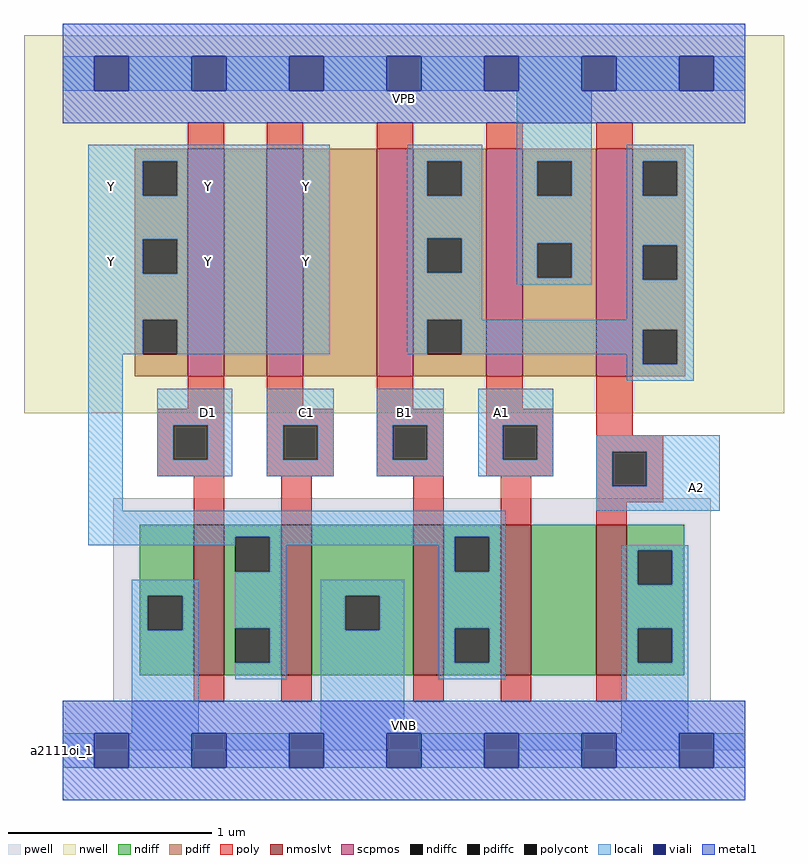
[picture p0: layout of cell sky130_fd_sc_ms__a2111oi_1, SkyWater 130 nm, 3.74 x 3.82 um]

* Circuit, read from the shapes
.subckt sky130_fd_sc_ms__a2111oi_1 A1 A2 B1 C1 D1 VGND VNB VPB VPWR Y
XM1 Y D1 VGND VNB sky130_fd_pr__nfet_01v8_lvt w=0.74 l=0.15
XM2 VGND C1 Y VNB sky130_fd_pr__nfet_01v8_lvt w=0.74 l=0.15
XM3 Y B1 VGND VNB sky130_fd_pr__nfet_01v8_lvt w=0.74 l=0.15
XM4 n1 A1 Y VNB sky130_fd_pr__nfet_01v8_lvt w=0.74 l=0.15
XM5 VGND A2 n1 VNB sky130_fd_pr__nfet_01v8_lvt w=0.74 l=0.15
XM6 n2 D1 Y VPB sky130_fd_pr__pfet_01v8 w=1.12 l=0.18
XM7 n3 C1 n2 VPB sky130_fd_pr__pfet_01v8 w=1.12 l=0.18
XM8 n4 B1 n3 VPB sky130_fd_pr__pfet_01v8 w=1.12 l=0.18
XM9 VPWR A1 n4 VPB sky130_fd_pr__pfet_01v8 w=1.12 l=0.18
XM10 n4 A2 VPWR VPB sky130_fd_pr__pfet_01v8 w=1.12 l=0.18
.ends

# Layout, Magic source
magic
tech sky130A
magscale 1 2
<< nwell >>
rect -38 332 710 704
<< pwell >>
rect 50 49 638 248
rect 0 0 672 49
<< scpmos >>
rect 123 368 159 592
rect 201 368 237 592
rect 309 368 345 592
rect 417 368 453 592
rect 525 368 561 592
<< nmoslvt >>
rect 129 74 159 222
rect 215 74 245 222
rect 345 74 375 222
rect 431 74 461 222
rect 525 74 555 222
<< ndiff >>
rect 76 152 129 222
rect 76 118 84 152
rect 118 118 129 152
rect 76 74 129 118
rect 159 210 215 222
rect 159 176 170 210
rect 204 176 215 210
rect 159 120 215 176
rect 159 86 170 120
rect 204 86 215 120
rect 159 74 215 86
rect 245 152 345 222
rect 245 118 278 152
rect 312 118 345 152
rect 245 74 345 118
rect 375 210 431 222
rect 375 176 386 210
rect 420 176 431 210
rect 375 120 431 176
rect 375 86 386 120
rect 420 86 431 120
rect 375 74 431 86
rect 461 74 525 222
rect 555 197 612 222
rect 555 163 566 197
rect 600 163 612 197
rect 555 120 612 163
rect 555 86 566 120
rect 600 86 612 120
rect 555 74 612 86
<< pdiff >>
rect 71 580 123 592
rect 71 546 79 580
rect 113 546 123 580
rect 71 503 123 546
rect 71 469 79 503
rect 113 469 123 503
rect 71 424 123 469
rect 71 390 79 424
rect 113 390 123 424
rect 71 368 123 390
rect 159 368 201 592
rect 237 368 309 592
rect 345 580 417 592
rect 345 546 359 580
rect 393 546 417 580
rect 345 504 417 546
rect 345 470 359 504
rect 393 470 417 504
rect 345 424 417 470
rect 345 390 359 424
rect 393 390 417 424
rect 345 368 417 390
rect 453 580 525 592
rect 453 546 467 580
rect 501 546 525 580
rect 453 499 525 546
rect 453 465 467 499
rect 501 465 525 499
rect 453 368 525 465
rect 561 580 613 592
rect 561 546 571 580
rect 605 546 613 580
rect 561 497 613 546
rect 561 463 571 497
rect 605 463 613 497
rect 561 414 613 463
rect 561 380 571 414
rect 605 380 613 414
rect 561 368 613 380
<< ndiffc >>
rect 84 118 118 152
rect 170 176 204 210
rect 170 86 204 120
rect 278 118 312 152
rect 386 176 420 210
rect 386 86 420 120
rect 566 163 600 197
rect 566 86 600 120
<< pdiffc >>
rect 79 546 113 580
rect 79 469 113 503
rect 79 390 113 424
rect 359 546 393 580
rect 359 470 393 504
rect 359 390 393 424
rect 467 546 501 580
rect 467 465 501 499
rect 571 546 605 580
rect 571 463 605 497
rect 571 380 605 414
<< poly >>
rect 123 592 159 618
rect 201 592 237 618
rect 309 592 345 618
rect 417 592 453 618
rect 525 592 561 618
rect 123 336 159 368
rect 93 320 159 336
rect 93 286 109 320
rect 143 286 159 320
rect 93 270 159 286
rect 201 336 237 368
rect 309 336 345 368
rect 417 336 453 368
rect 201 320 267 336
rect 201 286 217 320
rect 251 286 267 320
rect 201 270 267 286
rect 309 320 375 336
rect 309 286 325 320
rect 359 286 375 320
rect 309 270 375 286
rect 417 320 483 336
rect 417 286 433 320
rect 467 286 483 320
rect 417 270 483 286
rect 525 310 561 368
rect 525 294 591 310
rect 129 222 159 270
rect 215 222 245 270
rect 345 222 375 270
rect 431 222 461 270
rect 525 260 541 294
rect 575 260 591 294
rect 525 244 591 260
rect 525 222 555 244
rect 129 48 159 74
rect 215 48 245 74
rect 345 48 375 74
rect 431 48 461 74
rect 525 48 555 74
<< polycont >>
rect 109 286 143 320
rect 217 286 251 320
rect 325 286 359 320
rect 433 286 467 320
rect 541 260 575 294
<< locali >>
rect 0 649 31 683
rect 65 649 127 683
rect 161 649 223 683
rect 257 649 319 683
rect 353 649 415 683
rect 449 649 511 683
rect 545 649 607 683
rect 641 649 672 683
rect 25 580 263 596
rect 25 546 79 580
rect 113 546 263 580
rect 25 503 263 546
rect 25 469 79 503
rect 113 469 263 503
rect 25 424 263 469
rect 25 390 79 424
rect 113 390 263 424
rect 339 580 413 596
rect 339 546 359 580
rect 393 546 413 580
rect 339 504 413 546
rect 339 470 359 504
rect 393 470 413 504
rect 339 424 413 470
rect 447 580 521 649
rect 447 546 467 580
rect 501 546 521 580
rect 447 499 521 546
rect 447 465 467 499
rect 501 465 521 499
rect 447 458 521 465
rect 555 580 621 596
rect 555 546 571 580
rect 605 546 621 580
rect 555 497 621 546
rect 555 463 571 497
rect 605 463 621 497
rect 555 424 621 463
rect 339 390 359 424
rect 393 414 621 424
rect 393 390 571 414
rect 25 236 59 390
rect 555 380 571 390
rect 605 380 621 414
rect 555 364 621 380
rect 93 320 167 356
rect 93 286 109 320
rect 143 286 167 320
rect 93 270 167 286
rect 201 320 267 356
rect 201 286 217 320
rect 251 286 267 320
rect 201 270 267 286
rect 309 320 375 356
rect 309 286 325 320
rect 359 286 375 320
rect 309 270 375 286
rect 409 320 483 356
rect 409 286 433 320
rect 467 286 483 320
rect 409 270 483 286
rect 525 294 647 310
rect 525 260 541 294
rect 575 260 647 294
rect 525 236 647 260
rect 25 210 436 236
rect 25 202 170 210
rect 204 202 386 210
rect 204 176 220 202
rect 68 152 134 168
rect 68 118 84 152
rect 118 118 134 152
rect 68 17 134 118
rect 170 120 220 176
rect 370 176 386 202
rect 420 176 436 210
rect 204 86 220 120
rect 170 70 220 86
rect 254 152 336 168
rect 254 118 278 152
rect 312 118 336 152
rect 254 17 336 118
rect 370 120 436 176
rect 370 86 386 120
rect 420 86 436 120
rect 370 70 436 86
rect 550 197 616 202
rect 550 163 566 197
rect 600 163 616 197
rect 550 120 616 163
rect 550 86 566 120
rect 600 86 616 120
rect 550 17 616 86
rect 0 -17 31 17
rect 65 -17 127 17
rect 161 -17 223 17
rect 257 -17 319 17
rect 353 -17 415 17
rect 449 -17 511 17
rect 545 -17 607 17
rect 641 -17 672 17
<< viali >>
rect 31 649 65 683
rect 127 649 161 683
rect 223 649 257 683
rect 319 649 353 683
rect 415 649 449 683
rect 511 649 545 683
rect 607 649 641 683
rect 31 -17 65 17
rect 127 -17 161 17
rect 223 -17 257 17
rect 319 -17 353 17
rect 415 -17 449 17
rect 511 -17 545 17
rect 607 -17 641 17
<< metal1 >>
rect 0 683 672 715
rect 0 649 31 683
rect 65 649 127 683
rect 161 649 223 683
rect 257 649 319 683
rect 353 649 415 683
rect 449 649 511 683
rect 545 649 607 683
rect 641 649 672 683
rect 0 617 672 649
rect 0 17 672 49
rect 0 -17 31 17
rect 65 -17 127 17
rect 161 -17 223 17
rect 257 -17 319 17
rect 353 -17 415 17
rect 449 -17 511 17
rect 545 -17 607 17
rect 641 -17 672 17
rect 0 -49 672 -17
<< labels >>
flabel pwell s 0 0 672 49 0 FreeSans 200 0 0 0 VNB
port 7 nsew ground bidirectional
flabel nwell s 0 617 672 666 0 FreeSans 200 0 0 0 VPB
port 8 nsew power bidirectional
rlabel comment s 0 0 0 0 4 a2111oi_1
flabel metal1 s 0 617 672 666 0 FreeSans 340 0 0 0 VPWR
port 9 nsew power bidirectional
flabel metal1 s 0 0 672 49 0 FreeSans 340 0 0 0 VGND
port 6 nsew ground bidirectional
flabel locali s 127 316 161 350 0 FreeSans 340 0 0 0 D1
port 5 nsew signal input
flabel locali s 223 316 257 350 0 FreeSans 340 0 0 0 C1
port 4 nsew signal input
flabel locali s 319 316 353 350 0 FreeSans 340 0 0 0 B1
port 3 nsew signal input
flabel locali s 607 242 641 276 0 FreeSans 340 0 0 0 A2
port 2 nsew signal input
flabel locali s 415 316 449 350 0 FreeSans 340 0 0 0 A1
port 1 nsew signal input
flabel locali s 31 464 65 498 0 FreeSans 340 0 0 0 Y
port 10 nsew signal output
flabel locali s 31 538 65 572 0 FreeSans 340 0 0 0 Y
port 10 nsew signal output
flabel locali s 127 464 161 498 0 FreeSans 340 0 0 0 Y
port 10 nsew signal output
flabel locali s 127 538 161 572 0 FreeSans 340 0 0 0 Y
port 10 nsew signal output
flabel locali s 223 464 257 498 0 FreeSans 340 0 0 0 Y
port 10 nsew signal output
flabel locali s 223 538 257 572 0 FreeSans 340 0 0 0 Y
port 10 nsew signal output
<< properties >>
string LEFsite unit
string LEFclass CORE
string FIXED_BBOX 0 0 672 666
string GDS_FILE $PDKPATH/libs.ref/sky130_fd_sc_ms/gds/sky130_fd_sc_ms.gds
string LEFsymmetry X Y
string GDS_END 2760014
string GDS_START 2753492
<< end >>
